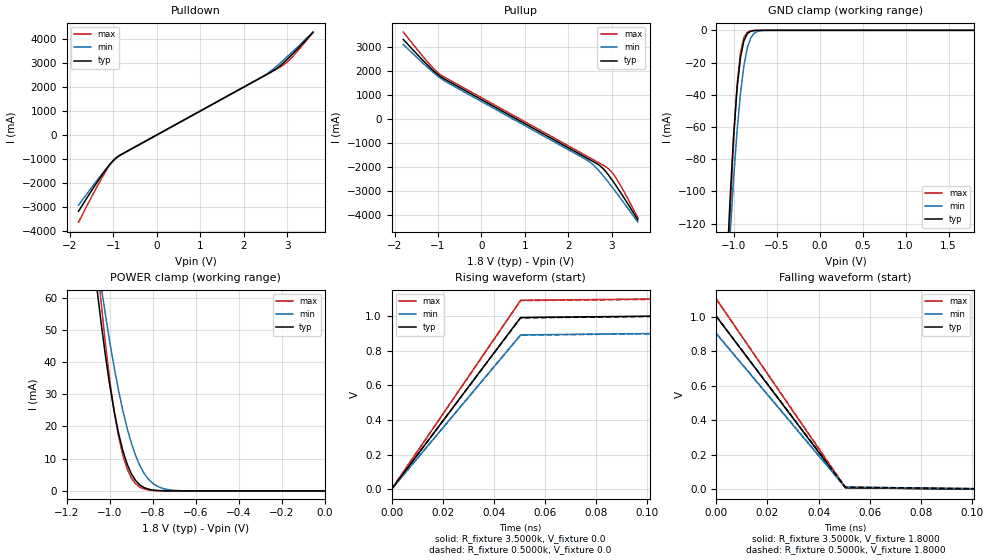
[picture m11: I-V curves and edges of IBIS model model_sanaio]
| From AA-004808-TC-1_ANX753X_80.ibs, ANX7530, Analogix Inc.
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[Model]  model_sanaio
Model_type I/O
Polarity   Non-Inverting
C_comp   2.3000pF   NA   NA
[Temperature Range]   27.0000   100.0000   0.0
[Voltage Range]   1.8000V   1.6200V   1.9800V
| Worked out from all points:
|   slope of the pulldown table from 0 to 0.27 V, typ, clamps not added: 1 ohm
|   slope of the pullup table from 0 to 0.27 V, typ, clamps not added: 1 ohm
|   GND clamp passes 1 mA (typ) near -0.81 V on its own axis
|   POWER clamp passes 1 mA (typ) near -0.84 V on its own axis
|   rising waveform, R_fixture 3.5000k, V_fixture 0.0: 20-80 % time 30.5ps typ, 30.6ps min, 30.5ps max; typ from 0 V to 1 V
|   rising waveform, R_fixture 0.5000k, V_fixture 0.0: 20-80 % time 30.5ps typ, 30.6ps min, 30.5ps max; typ from 0 V to 0.998 V
|   falling waveform, R_fixture 3.5000k, V_fixture 1.8000: 20-80 % time 30.6ps typ, 30.6ps min, 30.5ps max; typ from 1 V to 0.001 V
|   falling waveform, R_fixture 0.5000k, V_fixture 1.8000: 20-80 % time 30.6ps typ, 30.6ps min, 30.5ps max; typ from 1 V to 0.004 V
[GND_clamp]
|Voltage   I(typ)   I(min)   I(max)
-1.8V     -1.392A    -1.137A    -1.847A
-1.08V    -149.9mA   -165.9mA   -176.2mA
-1.04V    -103.9mA   -127.1mA   -116.7mA
-1V       -65.53mA   -92.43mA   -68.68mA
-960mV    -36.26mA   -62.89mA   -34.35mA
-920mV    -16.9mA    -39.25mA   -13.91mA
-880mV    -6.447mA   -21.97mA   -4.46mA
-840mV    -2.038mA   -10.83mA   -1.172mA
-800mV    -561.6uA   -4.681mA   -271.2uA
-760mV    -142.8uA   -1.802mA   -58.63uA
-680mV    -8.303uA   -212.9uA   -2.529uA
1.8V      18.07pA    76.29pA    17.1pA
[POWER_clamp]
|Voltage   I(typ)   I(min)   I(max)
-1.8V     696.1mA    569mA      923.8mA
-1.06V    63.03mA    73.01mA    72.57mA
-1.04V    51.96mA    63.53mA    58.33mA
-1.02V    41.84mA    54.58mA    45.54mA
-980mV    24.84mA    38.49mA    24.87mA
-960mV    18.13mA    31.45mA    17.18mA
-940mV    12.68mA    25.15mA    11.25mA
-900mV    5.353mA    14.9mA     4.052mA
-860mV    1.85mA     7.844mA    1.167mA
-800mV    280.8uA    2.341mA    135.6uA
-720mV    17.4uA     318.4uA    6.135uA
0V        18.07pA    22pA       19.81pA
[Pulldown]
|Voltage   I(typ)   I(min)   I(max)
-1.8V     -3.192A    -2.937A    -3.647A
-1.26V    -1.674A    -1.635A    -1.789A
-1.08V    -1.229A    -1.245A    -1.256A
-960mV    -996.3mA   -1.022A    -994.4mA
-720mV    -720mA     -720.6mA   -720mA
2.4V      2.4A       2.401A     2.4A
2.7V      2.705A     2.783A     2.7A
2.88V     2.954A     3.067A     2.884A
3V        3.159A     3.267A     3.045A
3.12V     3.377A     3.47A      3.26A
3.6V      4.296A     4.304A     4.295A
[Pullup]
|Voltage   I(typ)   I(min)   I(max)
-1.8V     3.296A     3.089A     3.603A
-1.2V     2.159A     2.07A      2.28A
-1.02V    1.861A     1.794A     1.945A
-900mV    1.705A     1.634A     1.784A
2.4V      -1.6A      -1.682A    -1.52A
2.52V     -1.72A     -1.829A    -1.64A
2.7V      -1.91A     -2.145A    -1.82A
2.88V     -2.229A    -2.535A    -2.008A
3V        -2.518A    -2.814A    -2.211A
3.12V     -2.834A    -3.1A      -2.521A
3.3V      -3.331A    -3.54A     -3.084A
3.6V      -4.192A    -4.288A    -4.11A
[Ramp]
| variable   typ   min   max
dV/dt_r  0.5882/30.2219p   0.5295/30.2675p   0.6468/30.1961p
dV/dt_f  0.5878/30.2473p   0.5295/30.2966p   0.6469/30.2104p
R_load = 50.0000
[Rising Waveform]
R_fixture= 3.5000k
V_fixture= 0.0
|time   V(typ)   V(min)   V(max)
0s        0V         0V         0V
50.51ps   992.2mV    891.8mV    1.092V
100ps     999.8mV    899.5mV    1.099V
150ps     999.6mV    899.9mV    1.099V
5ns       999.7mV    899.9mV    1.099V
[Rising Waveform]
R_fixture= 0.5000k
V_fixture= 0.0
|time   V(typ)   V(min)   V(max)
0s        0V         0V         0V
50.51ps   990.5mV    890.3mV    1.09V
100ps     998.1mV    898mV      1.097V
150ps     997.9mV    898.3mV    1.097V
5ns       998mV      898.4mV    1.097V
[Falling Waveform]
R_fixture= 3.5000k
V_fixture= 1.8000
|time   V(typ)   V(min)   V(max)
0s        1V         900.3mV    1.1V
50.51ps   8.908mV    9.444mV    8.397mV
100ps     420.9uV    467.5uV    425.1uV
5ns       513.9uV    513.9uV    513.9uV
[Falling Waveform]
R_fixture= 0.5000k
V_fixture= 1.8000
|time   V(typ)   V(min)   V(max)
0s        1.001V     901.8mV    1.101V
50.51ps   11.95mV    12.48mV    11.44mV
100ps     3.499mV    3.546mV    3.505mV
5ns       3.593mV    3.593mV    3.593mV
